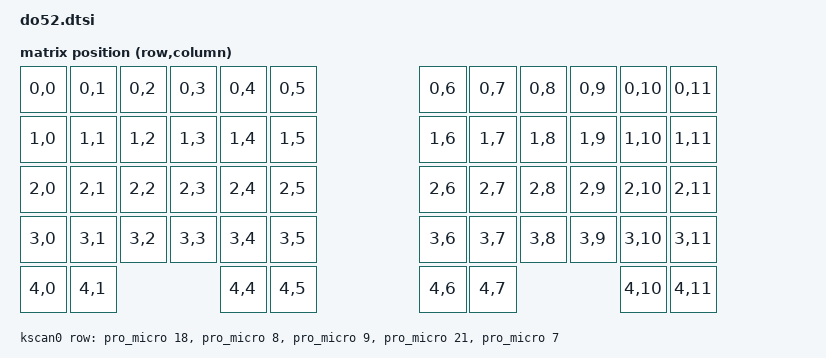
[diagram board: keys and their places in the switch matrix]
#include <dt-bindings/zmk/matrix_transform.h>
#include <zephyr/dt-bindings/input/input-event-codes.h>
#include <input/processors.dtsi>
/* Reference: https://docs.zephyrproject.org/apidoc/latest/group__input__events.html */

&adc {
	status = "okay";
};

/ {
	anin0: analog_input_0 {
		compatible = "zmk,analog-input";
		sampling-hz = <100>;
		x-ch {
			io-channels = <&adc 2>;
			mv-mid = <1630>;
			mv-min-max = <1600>;
			mv-deadzone = <10>;
			scale-multiplier = <1>;
			scale-divisor = <70>;
			invert;
			evt-type = <INPUT_EV_REL>;
			input-code = <INPUT_REL_X>;
		};
		y-ch {
			io-channels = <&adc 3>;
			mv-mid = <1630>;
			mv-min-max = <1600>;
			mv-deadzone = <10>;
			scale-multiplier = <3>;
			scale-divisor = <4>;
			invert;
			evt-type = <INPUT_EV_REL>;
			input-code = <INPUT_REL_Y>;

			/* enable report mdoe for gamepad axix or knob */
			/* to only call input_report on quantquantized value is updated */
			report-on-change-only;

		};
	};
    scroll_mode: zip_xy_to_scroll_mapper {
        compatible = "zmk,code-mapper";
        #input-processor-cells = <0>;
        #binding-cells = <0>; 
        type = <INPUT_EV_REL>;
        map = <INPUT_REL_Y INPUT_REL_WHEEL>
            , <INPUT_REL_X INPUT_REL_HWHEEL>
            ;
    };

    chosen {
        zmk,kscan = &kscan0;
        zmk,matrix_transform = &default_transform;
    };

    default_transform: keymap_transform_0 {
        compatible = "zmk,matrix-transform";
        columns = <12>;
        rows = <5>;
// | SW6  | SW5  | SW4  | SW3  | SW2  | SW1  |                 | SW1  | SW2  | SW3  | SW4  | SW5  | SW6  |
// | SW12 | SW11 | SW10 | SW9  | SW8  | SW7  |                 | SW7  | SW8  | SW9  | SW10 | SW11 | SW12 |
// | SW18 | SW17 | SW16 | SW15 | SW14 | SW13 |                 | SW13 | SW14 | SW15 | SW16 | SW17 | SW18 |
// | SW24 | SW23 | SW22 | SW21 | SW20 | SW19 |                 | SW19 | SW20 | SW21 | SW22 | SW23 | SW24 |
// | SW30 | SW29 | SW28 | SW27 | SW26 | SW25 |                 | SW25 | SW26 | SW27 | SW28 | SW29 | SW30 |

        map = <
RC(0,0) RC(0,1) RC(0,2) RC(0,3) RC(0,4) RC(0,5)                 RC(0,6) RC(0,7) RC(0,8) RC(0,9) RC(0,10) RC(0,11)
RC(1,0) RC(1,1) RC(1,2) RC(1,3) RC(1,4) RC(1,5)                 RC(1,6) RC(1,7) RC(1,8) RC(1,9) RC(1,10) RC(1,11)
RC(2,0) RC(2,1) RC(2,2) RC(2,3) RC(2,4) RC(2,5)                 RC(2,6) RC(2,7) RC(2,8) RC(2,9) RC(2,10) RC(2,11)
RC(3,0) RC(3,1) RC(3,2) RC(3,3) RC(3,4) RC(3,5)                 RC(3,6) RC(3,7) RC(3,8) RC(3,9) RC(3,10) RC(3,11)
RC(4,0) RC(4,1)                 RC(4,4) RC(4,5)                 RC(4,6) RC(4,7)                 RC(4,10) RC(4,11)
        >;
    };

    kscan0: kscan {
        compatible = "zmk,kscan-gpio-matrix";
        wakeup-source;
        diode-direction = "col2row";
        row-gpios
            = <&pro_micro 18 (GPIO_ACTIVE_HIGH | GPIO_PULL_DOWN)> // Row E from the schematic file
            , <&pro_micro 8 (GPIO_ACTIVE_HIGH | GPIO_PULL_DOWN)> // Row A from the schematic file
            , <&pro_micro 9 (GPIO_ACTIVE_HIGH | GPIO_PULL_DOWN)> // Row B from the schematic file
            , <&pro_micro 21 (GPIO_ACTIVE_HIGH | GPIO_PULL_DOWN)> // Row C from the schematic file
            , <&pro_micro 7 (GPIO_ACTIVE_HIGH | GPIO_PULL_DOWN)> // Row D from the schematic file
            ;

    };
};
